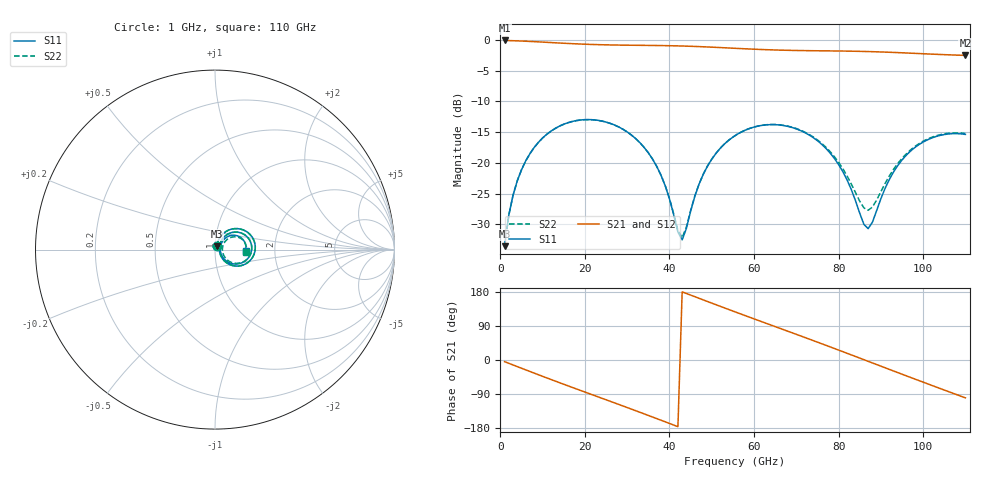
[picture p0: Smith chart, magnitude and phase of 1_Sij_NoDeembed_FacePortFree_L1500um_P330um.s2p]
! Touchstone file exported from HFSS 2024.2.0
!  File:  C:/Users/vaintrug/Documents/Ansoft_Workspace/Comparaison_Calculs_HFSS/1_VarPort.aedt
!  Generated:  03:22:17 PM Jan 21, 2025
!  Design:  1_NoDeembed_FacePortFree
!  Project:  1_VarPort
!  Setup:  Setup1
!  Solution:  Sweep
! Variables:
!  $Lenght = 1500um
!  $PortSize = 330um
!  Gap = 30um
!  Th = 2um
!  X_centralStrip = 20um
!  X_masse = 200um
!  Y_Sub = 1.5mm
!  Z_Box = 400um
!  Z_Sub = 200um
# GHz S MA R 50.000000
! Terminal data exported
! Port[1] = 1
! Port[2] = 2
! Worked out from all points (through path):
!   110 points, 1 GHz to 110 GHz, reference 50 ohm
!   highest |S21| = -0.10 dB at 1 GHz (marker M1); lowest = -2.5 dB at 110 GHz (marker M2)
!   group delay of S21, straight-line fit = 11.6 ps
!   lowest |S11| = -33.5 dB at 1 GHz (marker M3), VSWR 1.04, Z = 50.9 + j1.91 ohm
!   |S11| at or under -10 dB: start of sweep to end of sweep
!   |S22| runs from -33.5 to -13.0 dB; largest |S21 - S12| = 2e-15
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1  0.02108 62.9  0.9891 -4.4  0.9891 -4.4  0.02108 62.9
! Gamma 6.03036535051216 50.2768331010296 6.08242447069483 50.1400562427504
! Port Impedance 50 0 50 0
2  0.03775 69.8  0.9865 -8.8  0.9865 -8.8  0.03774 69.7
3  0.05476 70.1  0.984 -13.1  0.984 -13.1  0.05475 70.0
7  0.1192 58.5  0.9712 -30.4  0.9712 -30.4  0.1191 58.4
14  0.1994 31.3  0.9428 -59.9  0.9428 -59.9  0.1992 31.2
20  0.2249 8.1  0.9221 -84.6  0.9221 -84.6  0.2247 8.0
29  0.1878 -25.3  0.9062 -121.4  0.9062 -121.4  0.1877 -25.3
34  0.1339 -41.9  0.9024 -142.1  0.9024 -142.1  0.1338 -41.9
38  0.07938 -50.7  0.8989 -159.0  0.8989 -159.0  0.07956 -50.3
42  0.02745 -24.6  0.8932 -175.9  0.8932 -175.9  0.02829 -23.8
43  0.02372 6.3  0.8913 179.8  0.8913 179.8  0.0247 5.9
46  0.05359 53.8  0.8843 167.0  0.8843 167.0  0.05401 52.6
49  0.09433 53.6  0.8757 154.3  0.8757 154.3  0.09452 52.9
56  0.1708 33.2  0.8525 125.0  0.8525 125.0  0.1709 33.0
65  0.2047 1.8  0.8278 88.1  0.8278 88.1  0.2053 2.3
74  0.1607 -28.7  0.8162 51.3  0.8162 51.3  0.1627 -26.6
80  0.09721 -44.3  0.812 26.2  0.812 26.2  0.1014 -39.6
87  0.02927 4.3  0.8035 -3.5  0.8035 -3.5  0.04126 1.6
92  0.07335 48.6  0.7931 -24.7  0.7931 -24.7  0.07834 39.5
96  0.1154 42.3  0.7826 -41.7  0.7826 -41.7  0.1184 36.2
101  0.154 27.8  0.7687 -62.6  0.7687 -62.6  0.1562 23.6
110  0.1706 -1.9  0.7481 -100.0  0.7481 -100.0  0.1734 -3.7
